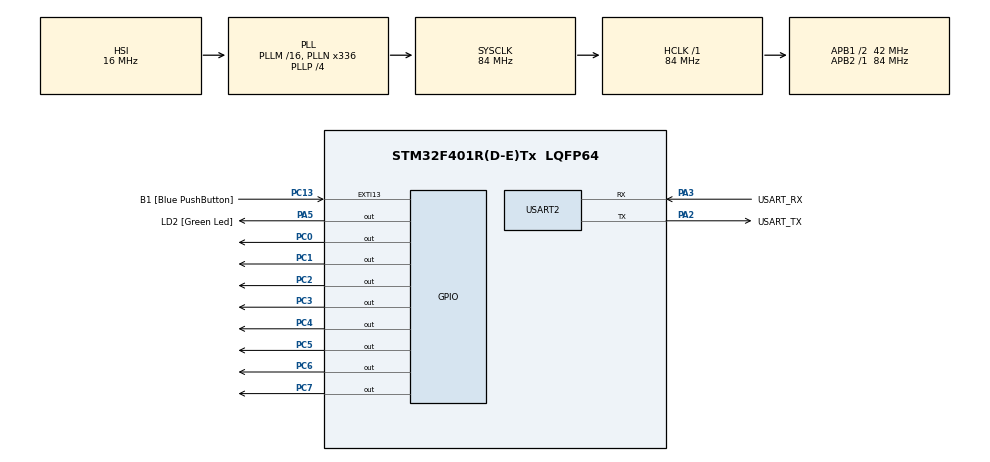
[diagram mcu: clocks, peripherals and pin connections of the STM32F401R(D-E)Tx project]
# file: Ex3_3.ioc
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Mcu.Family=STM32F4
Mcu.Name=STM32F401R(D-E)Tx
Mcu.Package=LQFP64
NVIC.EXTI15_10_IRQn=true\:0\:0\:false\:false\:true\:true\:true\:true
NVIC.PriorityGroup=NVIC_PRIORITYGROUP_0
PA13.GPIO_Label=TMS
PA13.Mode=Serial_Wire
PA13.Signal=SYS_JTMS-SWDIO
PA14.GPIO_Label=TCK
PA14.Mode=Serial_Wire
PA14.Signal=SYS_JTCK-SWCLK
PA2.GPIO_Label=USART_TX
PA2.GPIO_Mode=GPIO_MODE_AF_PP
PA2.GPIO_PuPd=GPIO_NOPULL
PA2.GPIO_Speed=GPIO_SPEED_FREQ_LOW
PA2.Mode=Asynchronous
PA2.Signal=USART2_TX
PA3.GPIO_Label=USART_RX
PA3.GPIO_Mode=GPIO_MODE_AF_PP
PA3.GPIO_PuPd=GPIO_NOPULL
PA3.GPIO_Speed=GPIO_SPEED_FREQ_LOW
PA3.Mode=Asynchronous
PA3.Signal=USART2_RX
PA5.GPIO_Label=LD2 [Green Led]
PA5.GPIO_Mode=GPIO_MODE_OUTPUT_PP
PA5.GPIO_PuPd=GPIO_NOPULL
PA5.GPIO_Speed=GPIO_SPEED_FREQ_LOW
PA5.Signal=GPIO_Output
PB3.GPIO_Label=SWO
PB3.Signal=SYS_JTDO-SWO
PC0.Signal=GPIO_Output
PC1.Signal=GPIO_Output
PC13-ANTI_TAMP.GPIO_Label=B1 [Blue PushButton]
PC13-ANTI_TAMP.GPIO_ModeDefaultEXTI=GPIO_MODE_IT_FALLING
PC13-ANTI_TAMP.GPIO_PuPd=GPIO_NOPULL
PC13-ANTI_TAMP.Signal=GPXTI13
PC14-OSC32_IN.Mode=LSE-External-Oscillator
PC14-OSC32_IN.Signal=RCC_OSC32_IN
PC15-OSC32_OUT.Mode=LSE-External-Oscillator
PC15-OSC32_OUT.Signal=RCC_OSC32_OUT
PC2.Signal=GPIO_Output
PC3.Signal=GPIO_Output
PC4.Signal=GPIO_Output
PC5.Signal=GPIO_Output
PC6.Signal=GPIO_Output
PC7.Signal=GPIO_Output
PH0\ -\ OSC_IN.Mode=HSE-External-Clock-Source
PH0\ -\ OSC_IN.Signal=RCC_OSC_IN
PH1\ -\ OSC_OUT.Mode=HSE-External-Clock-Source
PH1\ -\ OSC_OUT.Signal=RCC_OSC_OUT
ProjectManager.HeapSize=0x200
ProjectManager.StackSize=0x400
ProjectManager.TargetToolchain=STM32CubeIDE
RCC.48MHZClocksFreq_Value=48000000
RCC.AHBFreq_Value=84000000
RCC.APB1CLKDivider=RCC_HCLK_DIV2
RCC.APB1Freq_Value=42000000
RCC.APB1TimFreq_Value=84000000
RCC.APB2Freq_Value=84000000
RCC.APB2TimFreq_Value=84000000
RCC.CortexFreq_Value=84000000
RCC.HCLKFreq_Value=84000000
RCC.HSE_VALUE=8000000
RCC.HSI_VALUE=16000000
RCC.PLLN=336
RCC.PLLP=RCC_PLLP_DIV4
RCC.PLLQ=7
RCC.SYSCLKFreq_VALUE=84000000
RCC.SYSCLKSource=RCC_SYSCLKSOURCE_PLLCLK
RCC.VCOOutputFreq_Value=336000000
USART2.VirtualMode=VM_ASYNC
board=NUCLEO-F401RE

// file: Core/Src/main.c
/* USER CODE BEGIN Header */
/**
  ******************************************************************************
  * @file           : main.c
  * @brief          : Main program body
  ******************************************************************************
  * @attention
  *
  * Copyright (c) 2023 STMicroelectronics.
  * All rights reserved.
  *
  * This software is licensed under terms that can be found in the LICENSE file
  * in the root directory of this software component.
  * If no LICENSE file comes with this software, it is provided AS-IS.
  *
  ******************************************************************************
  */
/* USER CODE END Header */
#include "main.h"

UART_HandleTypeDef huart2;

/* USER CODE BEGIN PV */
uint32_t seg[10]= {
					0x003F00C0,  // 0
                    0x000600F9,  // 1
                    0x005B00A4,  // 2
                    0x004F00B0,  // 3
                    0x00660099,  // 4
                    0x006D0092,  // 5
                    0x007D0082,  // 6
                    0x002700D8,  // 7
                    0x007F0080,  // 8
                    0x006F0090   // 9
                   };
volatile uint16_t count = 0;
/* USER CODE END PV */

void SystemClock_Config(void);
static void MX_GPIO_Init(void);
static void MX_USART2_UART_Init(void);

int main(void)
{

  /* MCU Configuration--------------------------------------------------------*/

  /* Reset of all peripherals, Initializes the Flash interface and the Systick. */
  HAL_Init();

  /* Configure the system clock */
  SystemClock_Config();

  /* Initialize all configured peripherals */
  MX_GPIO_Init();
  MX_USART2_UART_Init();
  /* USER CODE BEGIN 2 */
  GPIOC->BSRR = seg[0];
  /* USER CODE END 2 */

  /* Infinite loop */
  while (1)
  {

  }
}

void SystemClock_Config(void)
{
  RCC_OscInitTypeDef RCC_OscInitStruct = {0};
  RCC_ClkInitTypeDef RCC_ClkInitStruct = {0};

  /** Configure the main internal regulator output voltage
  */
  __HAL_RCC_PWR_CLK_ENABLE();
  __HAL_PWR_VOLTAGESCALING_CONFIG(PWR_REGULATOR_VOLTAGE_SCALE2);

  /** Initializes the RCC Oscillators according to the specified parameters
  * in the RCC_OscInitTypeDef structure.
  */
  RCC_OscInitStruct.OscillatorType = RCC_OSCILLATORTYPE_HSI;
  RCC_OscInitStruct.HSIState = RCC_HSI_ON;
  RCC_OscInitStruct.HSICalibrationValue = RCC_HSICALIBRATION_DEFAULT;
  RCC_OscInitStruct.PLL.PLLState = RCC_PLL_ON;
  RCC_OscInitStruct.PLL.PLLSource = RCC_PLLSOURCE_HSI;
  RCC_OscInitStruct.PLL.PLLM = 16;
  RCC_OscInitStruct.PLL.PLLN = 336;
  RCC_OscInitStruct.PLL.PLLP = RCC_PLLP_DIV4;
  RCC_OscInitStruct.PLL.PLLQ = 7;
  if (HAL_RCC_OscConfig(&RCC_OscInitStruct) != HAL_OK)
  {
    Error_Handler();
  }

  /** Initializes the CPU, AHB and APB buses clocks
  */
  RCC_ClkInitStruct.ClockType = RCC_CLOCKTYPE_HCLK|RCC_CLOCKTYPE_SYSCLK
                              |RCC_CLOCKTYPE_PCLK1|RCC_CLOCKTYPE_PCLK2;
  RCC_ClkInitStruct.SYSCLKSource = RCC_SYSCLKSOURCE_PLLCLK;
  RCC_ClkInitStruct.AHBCLKDivider = RCC_SYSCLK_DIV1;
  RCC_ClkInitStruct.APB1CLKDivider = RCC_HCLK_DIV2;
  RCC_ClkInitStruct.APB2CLKDivider = RCC_HCLK_DIV1;

  if (HAL_RCC_ClockConfig(&RCC_ClkInitStruct, FLASH_LATENCY_2) != HAL_OK)
  {
    Error_Handler();
  }
}

static void MX_USART2_UART_Init(void)
{

  huart2.Instance = USART2;
  huart2.Init.BaudRate = 115200;
  huart2.Init.WordLength = UART_WORDLENGTH_8B;
  huart2.Init.StopBits = UART_STOPBITS_1;
  huart2.Init.Parity = UART_PARITY_NONE;
  huart2.Init.Mode = UART_MODE_TX_RX;
  huart2.Init.HwFlowCtl = UART_HWCONTROL_NONE;
  huart2.Init.OverSampling = UART_OVERSAMPLING_16;
  if (HAL_UART_Init(&huart2) != HAL_OK)
  {
    Error_Handler();
  }

}

static void MX_GPIO_Init(void)
{
  GPIO_InitTypeDef GPIO_InitStruct = {0};

  /* GPIO Ports Clock Enable */
  __HAL_RCC_GPIOC_CLK_ENABLE();
  __HAL_RCC_GPIOH_CLK_ENABLE();
  __HAL_RCC_GPIOA_CLK_ENABLE();
  __HAL_RCC_GPIOB_CLK_ENABLE();

  /*Configure GPIO pin Output Level */
  HAL_GPIO_WritePin(GPIOC, GPIO_PIN_0|GPIO_PIN_1|GPIO_PIN_2|GPIO_PIN_3
                          |GPIO_PIN_4|GPIO_PIN_5|GPIO_PIN_6|GPIO_PIN_7, GPIO_PIN_RESET);

  /*Configure GPIO pin Output Level */
  HAL_GPIO_WritePin(LD2_GPIO_Port, LD2_Pin, GPIO_PIN_RESET);

  /*Configure GPIO pin : B1_Pin */
  GPIO_InitStruct.Pin = B1_Pin;
  GPIO_InitStruct.Mode = GPIO_MODE_IT_FALLING;
  GPIO_InitStruct.Pull = GPIO_NOPULL;
  HAL_GPIO_Init(B1_GPIO_Port, &GPIO_InitStruct);

  /*Configure GPIO pins : PC0 PC1 PC2 PC3
                           PC4 PC5 PC6 PC7 */
  GPIO_InitStruct.Pin = GPIO_PIN_0|GPIO_PIN_1|GPIO_PIN_2|GPIO_PIN_3
                          |GPIO_PIN_4|GPIO_PIN_5|GPIO_PIN_6|GPIO_PIN_7;
  GPIO_InitStruct.Mode = GPIO_MODE_OUTPUT_PP;
  GPIO_InitStruct.Pull = GPIO_NOPULL;
  GPIO_InitStruct.Speed = GPIO_SPEED_FREQ_LOW;
  HAL_GPIO_Init(GPIOC, &GPIO_InitStruct);

  /*Configure GPIO pin : LD2_Pin */
  GPIO_InitStruct.Pin = LD2_Pin;
  GPIO_InitStruct.Mode = GPIO_MODE_OUTPUT_PP;
  GPIO_InitStruct.Pull = GPIO_NOPULL;
  GPIO_InitStruct.Speed = GPIO_SPEED_FREQ_LOW;
  HAL_GPIO_Init(LD2_GPIO_Port, &GPIO_InitStruct);

  /* EXTI interrupt init*/
  HAL_NVIC_SetPriority(EXTI15_10_IRQn, 0, 0);
  HAL_NVIC_EnableIRQ(EXTI15_10_IRQn);

}

/* USER CODE BEGIN 4 */
void HAL_GPIO_EXTI_Callback(uint16_t GPIO_Pin)
{
	GPIOC->BSRR = seg[++count % 10];
}
/* USER CODE END 4 */

void Error_Handler(void)
{
  __disable_irq();
  while (1)
  {
  }
}
